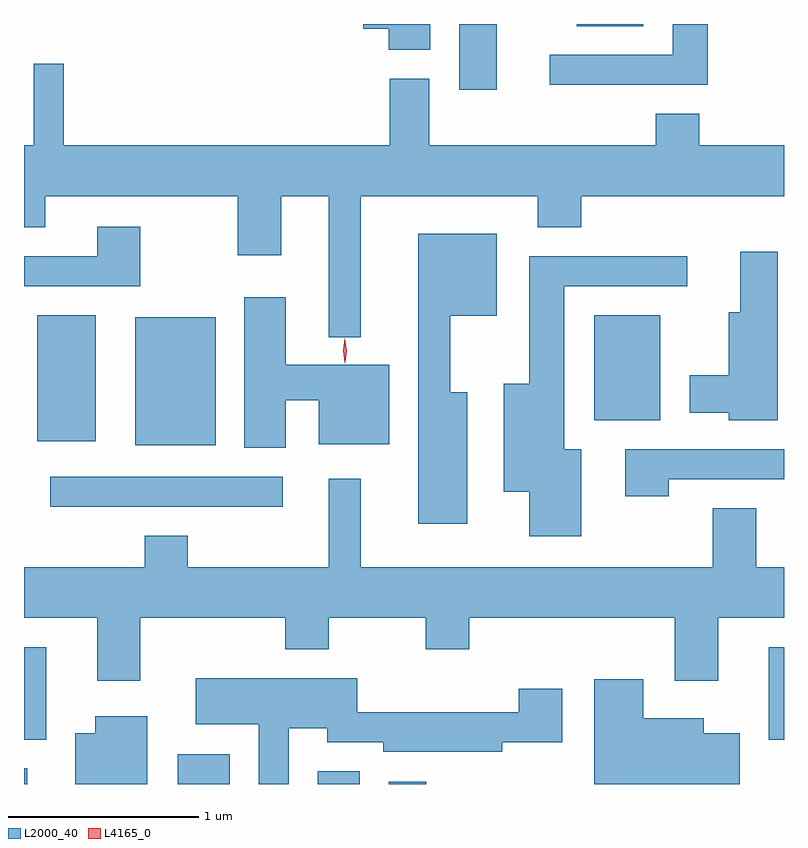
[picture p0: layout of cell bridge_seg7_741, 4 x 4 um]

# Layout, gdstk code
import gdstk
lib = gdstk.Library(unit=1e-6, precision=1e-09)
def R(c, l, rs):  # rectangles x0, y0, x1, y1
    for r in rs: c.add(gdstk.rectangle(r[:2], r[2:], *l))
def P(c, l, *ps):  # polygons
    for p in ps: c.add(gdstk.Polygon(p, *l))
L2000_40 = (2000, 40)
L4165_0 = (4165, 0)

bridge_seg7_741 = lib.new_cell('bridge_seg7_741')
R(bridge_seg7_741, L2000_40, [(442.036,1760.062,442.054,1760.144), (442.846,1760.062,443.119,1760.219), (443.581,1760.062,443.804,1760.129), (443.956,1760.062,444.154,1760.074), (442.036,1760.296,442.154,1760.783), (445.956,1760.296,446.036,1760.783), (442.173,1761.521,443.398,1761.679), (442.621,1761.846,443.044,1762.519), (442.106,1761.866,442.414,1762.529), (445.036,1761.976,445.384,1762.529), (444.326,1763.716,444.524,1764.062), (444.946,1764.051,445.294,1764.062)])
P(bridge_seg7_741, L2000_40, [(445.634,1764.062),(445.451,1764.062),(445.451,1763.899),(444.803,1763.899),(444.803,1763.741),(445.634,1763.741)],
  [(444.174,1764.062),(443.821,1764.062),(443.821,1764.036),(443.956,1764.036),(443.956,1763.926),(444.174,1763.926)],
  [(442.086,1763.853),(442.086,1763.424),(442.036,1763.424),(442.036,1762.991),(442.149,1762.991),(442.149,1763.156),(443.161,1763.156),(443.161,1762.846),(443.389,1762.846),(443.389,1763.156),(443.641,1763.156),(443.641,1762.413),(443.809,1762.413),(443.809,1763.156),(444.741,1763.156),(444.741,1762.991),(444.969,1762.991),(444.969,1763.156),(446.036,1763.156),(446.036,1763.424),(445.589,1763.424),(445.589,1763.589),(445.361,1763.589),(445.361,1763.424),(444.169,1763.424),(444.169,1763.774),(443.961,1763.774),(443.961,1763.424),(442.244,1763.424),(442.244,1763.853)],
  [(442.649,1762.994),(442.421,1762.994),(442.421,1762.839),(442.036,1762.839),(442.036,1762.681),(442.649,1762.681)],
  [(444.369,1762.124),(444.279,1762.124),(444.279,1762.526),(444.524,1762.526),(444.524,1762.959),(444.111,1762.959),(444.111,1761.431),(444.369,1761.431)],
  [(446.004,1762.864),(445.806,1762.864),(445.806,1762.544),(445.746,1762.544),(445.746,1762.214),(445.541,1762.214),(445.541,1762.016),(445.746,1762.016),(445.746,1761.976),(446.004,1761.976)],
  [(444.969,1761.824),(444.879,1761.824),(444.879,1762.681),(445.528,1762.681),(445.528,1762.839),(444.696,1762.839),(444.696,1762.169),(444.561,1762.169),(444.561,1761.601),(444.696,1761.601),(444.696,1761.366),(444.969,1761.366)],
  [(443.414,1762.081),(443.586,1762.081),(443.586,1761.851),(443.959,1761.851),(443.959,1762.269),(443.414,1762.269),(443.414,1762.624),(443.196,1762.624),(443.196,1761.831),(443.414,1761.831)],
  [(445.429,1761.666),(446.036,1761.666),(446.036,1761.824),(445.201,1761.824),(445.201,1761.576),(445.429,1761.576)],
  [(442.649,1760.936),(443.411,1760.936),(443.411,1760.771),(443.639,1760.771),(443.639,1760.936),(444.151,1760.936),(444.151,1760.771),(444.379,1760.771),(444.379,1760.936),(445.461,1760.936),(445.461,1760.606),(445.689,1760.606),(445.689,1760.936),(446.036,1760.936),(446.036,1761.204),(445.889,1761.204),(445.889,1761.514),(445.661,1761.514),(445.661,1761.204),(443.809,1761.204),(443.809,1761.668),(443.641,1761.668),(443.641,1761.204),(442.899,1761.204),(442.899,1761.369),(442.671,1761.369),(442.671,1761.204),(442.036,1761.204),(442.036,1760.936),(442.421,1760.936),(442.421,1760.606),(442.649,1760.606)],
  [(443.429,1760.356),(443.631,1760.356),(443.631,1760.281),(443.926,1760.281),(443.926,1760.231),(444.554,1760.231),(444.554,1760.281),(444.869,1760.281),(444.869,1760.564),(444.641,1760.564),(444.641,1760.439),(443.789,1760.439),(443.789,1760.619),(442.941,1760.619),(442.941,1760.376),(443.271,1760.376),(443.271,1760.062),(443.429,1760.062)],
  [(445.804,1760.329),(445.614,1760.329),(445.614,1760.409),(445.294,1760.409),(445.294,1760.614),(445.036,1760.614),(445.036,1760.062),(445.804,1760.062)],
  [(442.684,1760.419),(442.411,1760.419),(442.411,1760.329),(442.306,1760.329),(442.306,1760.062),(442.684,1760.062)])
P(bridge_seg7_741, L4165_0, [(443.725,1762.279),(443.715,1762.343),(443.724,1762.407),(443.725,1762.407),(443.725,1762.407),(443.735,1762.343),(443.726,1762.279),(443.726,1762.279)])

lib.write_gds('bridge_seg7_741.gds')
